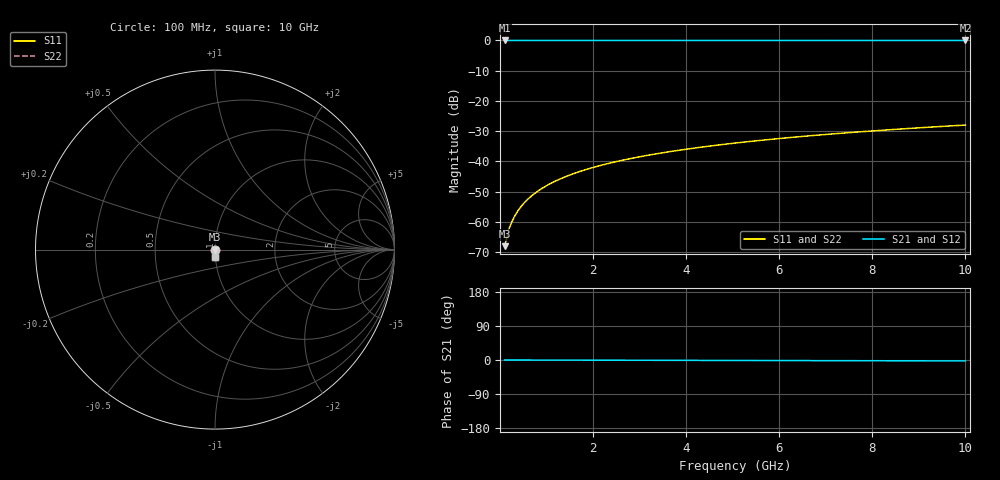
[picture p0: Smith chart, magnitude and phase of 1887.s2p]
# Hz S RI R 50.00
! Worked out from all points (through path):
!   100 points, 100 MHz to 10 GHz, reference 50 ohm
!   highest |S21| = 0.00 dB at 100 MHz (marker M1); lowest = 0.0 dB at 10 GHz (marker M2)
!   lowest |S11| = -68.0 dB at 100 MHz (marker M3), VSWR 1.00, Z = 50 - j0.0397 ohm
!   |S11| at or under -10 dB: start of sweep to end of sweep
!   |S22| runs from -68.0 to -28.0 dB; largest |S21 - S12| = 0
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1e8  3.78e-06 -0.000397  1 -0.00042  1 -0.00042  3.78e-06 -0.000397
2e8  2.91e-06 -0.000794  1 -0.00084  1 -0.00084  2.91e-06 -0.000794
3e8  1.7e-06 -0.00119  1 -0.00126  1 -0.00126  1.7e-06 -0.00119
4e8  1.46e-07 -0.00159  1 -0.00168  1 -0.00168  1.46e-07 -0.00159
5e8  -1.74e-06 -0.00198  1 -0.0021  1 -0.0021  -1.74e-06 -0.00198
6e8  -3.96e-06 -0.00238  1 -0.00252  1 -0.00252  -3.96e-06 -0.00238
7e8  -6.52e-06 -0.00278  1 -0.00294  1 -0.00294  -6.52e-06 -0.00278
8e8  -9.41e-06 -0.00318  1 -0.00336  1 -0.00336  -9.41e-06 -0.00318
9e8  -1.26e-05 -0.00357  1 -0.00378  1 -0.00378  -1.26e-05 -0.00357
1.1e9  -2.01e-05 -0.00437  1 -0.00462  1 -0.00462  -2.01e-05 -0.00437
1.4e9  -3.38e-05 -0.00556  1 -0.00588  1 -0.00588  -3.38e-05 -0.00556
1.8e9  -5.68e-05 -0.00715  0.9999 -0.00757  0.9999 -0.00757  -5.68e-05 -0.00715
2.1e9  -7.75e-05 -0.00834  0.9999 -0.00883  0.9999 -0.00883  -7.75e-05 -0.00834
2.5e9  -0.00011 -0.00993  0.9999 -0.0105  0.9999 -0.0105  -0.00011 -0.00993
2.9e9  -0.000148 -0.0115  0.9998 -0.0122  0.9998 -0.0122  -0.000148 -0.0115
3.4e9  -0.000202 -0.0135  0.9998 -0.0143  0.9998 -0.0143  -0.000202 -0.0135
4.2e9  -0.000308 -0.0167  0.9997 -0.0177  0.9997 -0.0177  -0.000308 -0.0167
5.1e9  -0.000452 -0.0203  0.9995 -0.0215  0.9995 -0.0215  -0.000452 -0.0203
5.9e9  -0.000603 -0.0235  0.9994 -0.0249  0.9994 -0.0249  -0.000603 -0.0235
6.7e9  -0.000777 -0.0267  0.9992 -0.0282  0.9992 -0.0282  -0.000777 -0.0267
8.4e9  -0.00122 -0.0335  0.9988 -0.0355  0.9988 -0.0355  -0.00122 -0.0335
1e10  -0.00172 -0.0399  0.9983 -0.0422  0.9983 -0.0422  -0.00172 -0.0399
